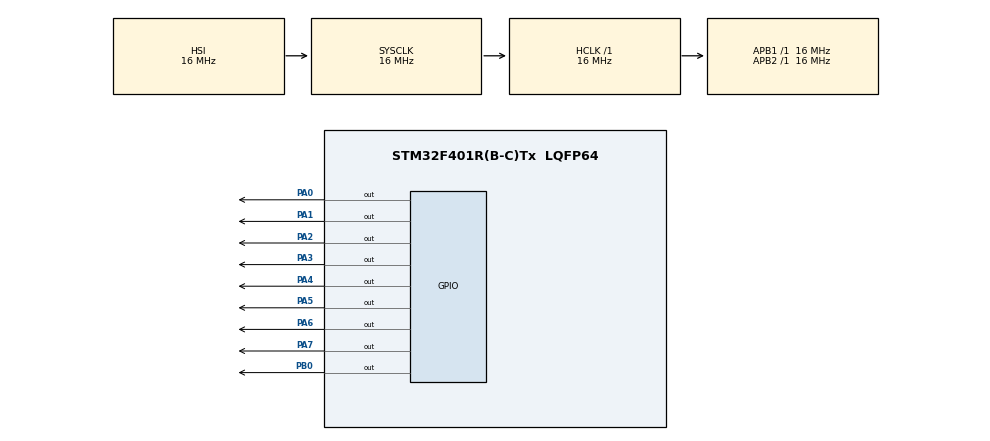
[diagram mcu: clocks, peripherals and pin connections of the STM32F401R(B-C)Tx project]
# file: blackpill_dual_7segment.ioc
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Mcu.Family=STM32F4
Mcu.Name=STM32F401R(B-C)Tx
Mcu.Package=LQFP64
NVIC.PriorityGroup=NVIC_PRIORITYGROUP_4
PA0-WKUP.Signal=GPIO_Output
PA1.Signal=GPIO_Output
PA2.Signal=GPIO_Output
PA3.Signal=GPIO_Output
PA4.Signal=GPIO_Output
PA5.Signal=GPIO_Output
PA6.Signal=GPIO_Output
PA7.Signal=GPIO_Output
PB0.Signal=GPIO_Output
ProjectManager.HeapSize=0x200
ProjectManager.StackSize=0x400
ProjectManager.TargetToolchain=STM32CubeIDE
RCC.AHBFreq_Value=16000000
RCC.APB1Freq_Value=16000000
RCC.APB2Freq_Value=16000000
RCC.CortexFreq_Value=16000000
RCC.HSE_VALUE=25000000
RCC.HSI_VALUE=16000000
RCC.LSE_VALUE=32768
RCC.SYSCLKFreq_VALUE=16000000
RCC.VCOOutputFreq_Value=192000000
board=custom

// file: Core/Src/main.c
/* USER CODE BEGIN Header */
/**
  ******************************************************************************
  * @file           : main.c
  * @brief          : Main program body
  ******************************************************************************
  * @attention
  *
  * Copyright (c) 2025 STMicroelectronics.
  * All rights reserved.
  *
  * This software is licensed under terms that can be found in the LICENSE file
  * in the root directory of this software component.
  * If no LICENSE file comes with this software, it is provided AS-IS.
  *
  ******************************************************************************
  */
/* USER CODE END Header */
#include "main.h"

void SystemClock_Config(void);
static void MX_GPIO_Init(void);

int main(void)
{

  /* MCU Configuration--------------------------------------------------------*/

  /* Reset of all peripherals, Initializes the Flash interface and the Systick. */
  HAL_Init();

  /* Configure the system clock */
  SystemClock_Config();

  /* Initialize all configured peripherals */
  MX_GPIO_Init();
  /* USER CODE BEGIN 2 */

  int segment_mapping[10][7] = {

		 // 0 means ON, 1 means OFF

		 // a, b, c, d, e, f, g
		  { 0, 0, 0, 0, 0, 0, 1 }, // 0
		  { 1, 0, 0, 1, 1, 1, 1 }, // 1
		  { 0, 0, 1, 0, 0, 1, 0 }, // 2
		  { 0, 0, 0, 0, 1, 1, 0 }, // 3
		  { 1, 0, 0, 1, 1, 0, 0 }, // 4
		  { 0, 1, 0, 0, 1, 0, 0 }, // 5
		  { 0, 1, 0, 0, 0, 0, 0 }, // 6
		  { 0, 0, 0, 1, 1, 1, 1 }, // 7
		  { 0, 0, 0, 0, 0, 0, 0 }, // 8
		  { 0, 0, 0, 1, 1, 0, 0 }  // 9

  };

  int data_pin[] = { GPIO_PIN_1, GPIO_PIN_2, GPIO_PIN_3, GPIO_PIN_4, GPIO_PIN_5, GPIO_PIN_6, GPIO_PIN_7 };

  void segment_main(uint8_t tens, uint8_t ones)
  {
	  for(uint8_t i =0; i<7; i++)
	  {
		  HAL_GPIO_WritePin(GPIOA, data_pin[i], segment_mapping[tens][i]); // Displays tens digit
	  }

	  HAL_GPIO_WritePin(GPIOA, GPIO_PIN_0, 1); // Select the first segment display
	  HAL_Delay(1);                            // Persistence for 1 ms
	  HAL_GPIO_WritePin(GPIOA, GPIO_PIN_0, 0); // De-Select the first segment display

	  for(uint8_t i =0; i<7; i++)
	  {
		  HAL_GPIO_WritePin(GPIOA, data_pin[i], segment_mapping[ones][i]); // Displays ones digit
	  }

	  HAL_GPIO_WritePin(GPIOB, GPIO_PIN_0, 1); // Select the first segment display
	  HAL_Delay(1);                            // Persistence for 1 ms
	  HAL_GPIO_WritePin(GPIOB, GPIO_PIN_0, 0); // De-Select the first segment display
 }

  /* USER CODE END 2 */

  /* Infinite loop */
  while (1)
  {

    /* USER CODE BEGIN 3 */

	  for(uint8_t j = 0; j<10; j++)
	  {
		  for(uint8_t k = 0; k<10; k++)
		  {
			  uint8_t counter = 0;
			  while (counter < 100) // This piece of code ensures that our eyes can perceive the display as normal
			  {
				  segment_main(j, k); // Displaying each number 100 times in both the displays
				  counter++;
			  }
		  }
	  }
  }
  /* USER CODE END 3 */
}

void SystemClock_Config(void)
{
  RCC_OscInitTypeDef RCC_OscInitStruct = {0};
  RCC_ClkInitTypeDef RCC_ClkInitStruct = {0};

  /** Configure the main internal regulator output voltage
  */
  __HAL_RCC_PWR_CLK_ENABLE();
  __HAL_PWR_VOLTAGESCALING_CONFIG(PWR_REGULATOR_VOLTAGE_SCALE2);

  /** Initializes the RCC Oscillators according to the specified parameters
  * in the RCC_OscInitTypeDef structure.
  */
  RCC_OscInitStruct.OscillatorType = RCC_OSCILLATORTYPE_HSI;
  RCC_OscInitStruct.HSIState = RCC_HSI_ON;
  RCC_OscInitStruct.HSICalibrationValue = RCC_HSICALIBRATION_DEFAULT;
  RCC_OscInitStruct.PLL.PLLState = RCC_PLL_NONE;
  if (HAL_RCC_OscConfig(&RCC_OscInitStruct) != HAL_OK)
  {
    Error_Handler();
  }

  /** Initializes the CPU, AHB and APB buses clocks
  */
  RCC_ClkInitStruct.ClockType = RCC_CLOCKTYPE_HCLK|RCC_CLOCKTYPE_SYSCLK
                              |RCC_CLOCKTYPE_PCLK1|RCC_CLOCKTYPE_PCLK2;
  RCC_ClkInitStruct.SYSCLKSource = RCC_SYSCLKSOURCE_HSI;
  RCC_ClkInitStruct.AHBCLKDivider = RCC_SYSCLK_DIV1;
  RCC_ClkInitStruct.APB1CLKDivider = RCC_HCLK_DIV1;
  RCC_ClkInitStruct.APB2CLKDivider = RCC_HCLK_DIV1;

  if (HAL_RCC_ClockConfig(&RCC_ClkInitStruct, FLASH_LATENCY_0) != HAL_OK)
  {
    Error_Handler();
  }
}

static void MX_GPIO_Init(void)
{
  GPIO_InitTypeDef GPIO_InitStruct = {0};

  /* GPIO Ports Clock Enable */
  __HAL_RCC_GPIOA_CLK_ENABLE();
  __HAL_RCC_GPIOB_CLK_ENABLE();

  /*Configure GPIO pin Output Level */
  HAL_GPIO_WritePin(GPIOA, GPIO_PIN_0|GPIO_PIN_1|GPIO_PIN_2|GPIO_PIN_3
                          |GPIO_PIN_4|GPIO_PIN_5|GPIO_PIN_6|GPIO_PIN_7, GPIO_PIN_RESET);

  /*Configure GPIO pin Output Level */
  HAL_GPIO_WritePin(GPIOB, GPIO_PIN_0, GPIO_PIN_RESET);

  /*Configure GPIO pins : PA0 PA1 PA2 PA3
                           PA4 PA5 PA6 PA7 */
  GPIO_InitStruct.Pin = GPIO_PIN_0|GPIO_PIN_1|GPIO_PIN_2|GPIO_PIN_3
                          |GPIO_PIN_4|GPIO_PIN_5|GPIO_PIN_6|GPIO_PIN_7;
  GPIO_InitStruct.Mode = GPIO_MODE_OUTPUT_PP;
  GPIO_InitStruct.Pull = GPIO_NOPULL;
  GPIO_InitStruct.Speed = GPIO_SPEED_FREQ_LOW;
  HAL_GPIO_Init(GPIOA, &GPIO_InitStruct);

  /*Configure GPIO pin : PB0 */
  GPIO_InitStruct.Pin = GPIO_PIN_0;
  GPIO_InitStruct.Mode = GPIO_MODE_OUTPUT_PP;
  GPIO_InitStruct.Pull = GPIO_NOPULL;
  GPIO_InitStruct.Speed = GPIO_SPEED_FREQ_LOW;
  HAL_GPIO_Init(GPIOB, &GPIO_InitStruct);

}

void Error_Handler(void)
{
  __disable_irq();
  while (1)
  {
  }
}
